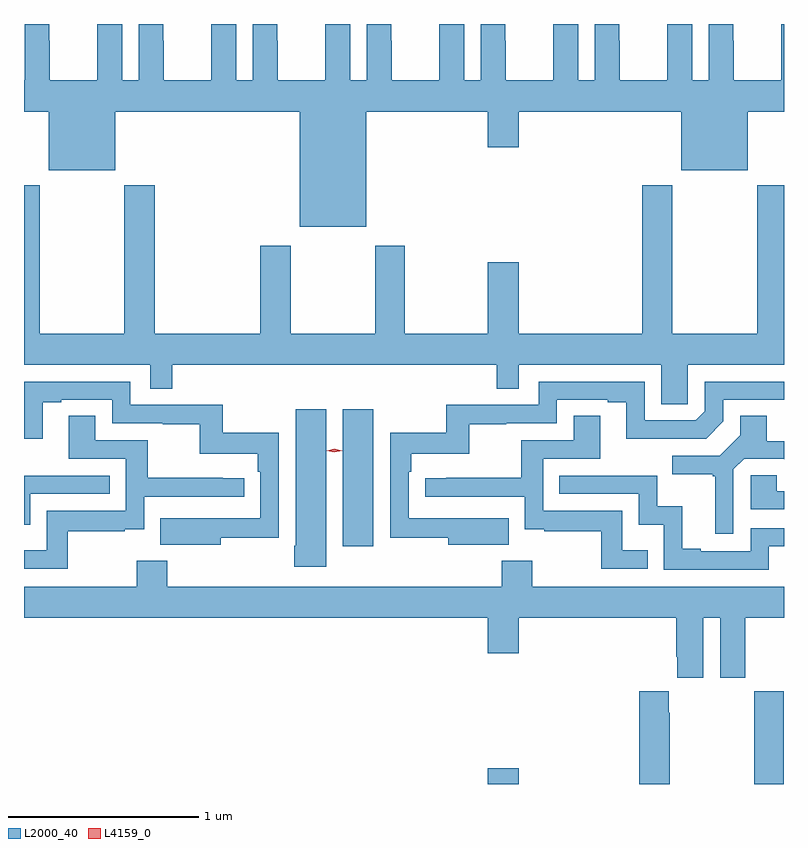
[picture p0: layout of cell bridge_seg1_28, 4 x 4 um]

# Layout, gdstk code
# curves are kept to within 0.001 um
import gdstk
lib = gdstk.Library(unit=1e-6, precision=1e-09)
def R(c, l, rs):  # rectangles x0, y0, x1, y1
    for r in rs: c.add(gdstk.rectangle(r[:2], r[2:], *l))
def P(c, l, *ps):  # polygons
    for p in ps: c.add(gdstk.Polygon(p, *l))
L2000_40 = (2000, 40)
L4159_0 = (4159, 0)

bridge_seg1_28 = lib.new_cell('bridge_seg1_28')
R(bridge_seg1_28, L2000_40, [(1124.048,536.205,1124.212,536.287), (1125.451,536.205,1125.606,536.692), (1123.286,537.456,1123.447,538.177)])
P(bridge_seg1_28, L2000_40, [(1121.994,540.116),(1121.993,540.116),(1121.993,539.908),(1121.743,539.908),(1121.743,540.116),(1121.742,540.116),(1121.742,540.205),(1121.612,540.205),(1121.612,539.908),(1121.608,539.908),(1121.608,539.744),(1121.738,539.744),(1121.738,539.435),(1122.088,539.435),(1122.088,539.744),(1123.058,539.744),(1123.058,539.138),(1123.408,539.138),(1123.408,539.744),(1124.048,539.744),(1124.048,539.556),(1124.212,539.556),(1124.212,539.744),(1125.068,539.744),(1125.068,539.435),(1125.418,539.435),(1125.418,539.744),(1125.608,539.744),(1125.608,540.205),(1125.594,540.205),(1125.594,540.116),(1125.593,540.116),(1125.593,539.908),(1125.343,539.908),(1125.343,540.116),(1125.342,540.116),(1125.342,540.205),(1125.212,540.205),(1125.212,539.908),(1125.124,539.908),(1125.124,540.205),(1124.994,540.205),(1124.994,540.116),(1124.993,540.116),(1124.993,539.908),(1124.743,539.908),(1124.743,540.116),(1124.742,540.116),(1124.742,540.205),(1124.612,540.205),(1124.612,539.908),(1124.524,539.908),(1124.524,540.205),(1124.394,540.205),(1124.394,540.116),(1124.393,540.116),(1124.393,539.908),(1124.143,539.908),(1124.143,540.116),(1124.142,540.116),(1124.142,540.205),(1124.012,540.205),(1124.012,539.908),(1123.924,539.908),(1123.924,540.205),(1123.794,540.205),(1123.794,540.116),(1123.793,540.116),(1123.793,539.908),(1123.543,539.908),(1123.543,540.116),(1123.542,540.116),(1123.542,540.205),(1123.412,540.205),(1123.412,539.908),(1123.324,539.908),(1123.324,540.205),(1123.194,540.205),(1123.194,540.116),(1123.193,540.116),(1123.193,539.908),(1122.943,539.908),(1122.943,540.116),(1122.942,540.116),(1122.942,540.205),(1122.812,540.205),(1122.812,539.908),(1122.724,539.908),(1122.724,540.205),(1122.594,540.205),(1122.594,540.116),(1122.593,540.116),(1122.593,539.908),(1122.343,539.908),(1122.343,540.116),(1122.342,540.116),(1122.342,540.205),(1122.212,540.205),(1122.212,539.908),(1122.124,539.908),(1122.124,540.205),(1121.994,540.205)],
  [(1125.102,538.412),(1125.608,538.412),(1125.608,539.356),(1125.466,539.356),(1125.466,538.576),(1125.021,538.576),(1125.021,539.356),(1124.861,539.356),(1124.861,538.576),(1124.212,538.576),(1124.212,538.951),(1124.048,538.951),(1124.048,538.576),(1123.611,538.576),(1123.611,539.038),(1123.456,539.038),(1123.456,538.576),(1123.011,538.576),(1123.011,539.038),(1122.851,539.038),(1122.851,538.576),(1122.296,538.576),(1122.296,539.356),(1122.136,539.356),(1122.136,538.576),(1121.691,538.576),(1121.691,539.356),(1121.608,539.356),(1121.608,538.412),(1122.273,538.412),(1122.273,538.285),(1122.389,538.285),(1122.389,538.412),(1124.095,538.412),(1124.095,538.285),(1124.211,538.285),(1124.211,538.412),(1124.963,538.412),(1124.963,538.204),(1125.102,538.204)],
  [(1124.159,537.604),(1123.632,537.603),(1123.632,537.848),(1123.646,537.848),(1123.646,537.944),(1123.951,537.944),(1123.951,538.099),(1124.147,538.099),(1124.147,538.104),(1124.412,538.104),(1124.412,538.227),(1124.681,538.227),(1124.681,538.215),(1124.777,538.215),(1124.777,538.022),(1125.198,538.023),(1125.288,538.113),(1125.288,538.227),(1125.608,538.227),(1125.608,538.323),(1125.192,538.323),(1125.192,538.167),(1125.144,538.119),(1124.874,538.119),(1124.874,538.323),(1124.316,538.323),(1124.316,538.2),(1123.83,538.2),(1123.83,538.054),(1123.536,538.054),(1123.536,537.502),(1123.841,537.502),(1123.841,537.464),(1124.159,537.464)],
  [(1122.643,537.502),(1122.948,537.502),(1122.948,538.054),(1122.655,538.054),(1122.655,538.2),(1122.168,538.2),(1122.168,538.323),(1121.61,538.323),(1121.61,538.119),(1121.608,538.119),(1121.608,538.022),(1121.707,538.022),(1121.707,538.215),(1121.803,538.215),(1121.803,538.227),(1122.072,538.227),(1122.072,538.104),(1122.337,538.104),(1122.337,538.099),(1122.534,538.099),(1122.534,537.944),(1122.839,537.944),(1122.839,537.848),(1122.852,537.848),(1122.852,537.603),(1122.539,537.603),(1122.539,537.604),(1122.325,537.604),(1122.325,537.464),(1122.643,537.464)],
  [(1123.198,538.177),(1123.037,538.177),(1123.037,537.46),(1123.03,537.46),(1123.03,537.348),(1123.198,537.348)],
  [(1125.342,537.861),(1125.399,537.918),(1125.605,537.918),(1125.608,537.915),(1125.608,538.01),(1125.517,538.01),(1125.517,538.142),(1125.377,538.142),(1125.377,538.04),(1125.27,537.933),(1125.021,537.933),(1125.021,537.836),(1125.234,537.836),(1125.234,537.825),(1125.245,537.825),(1125.245,537.522),(1125.342,537.522)],
  [(1121.839,537.534),(1122.137,537.534),(1122.137,537.545),(1122.24,537.545),(1122.24,537.717),(1122.766,537.717),(1122.766,537.813),(1122.653,537.813),(1122.653,537.818),(1122.26,537.818),(1122.26,538.014),(1121.983,538.014),(1121.983,538.142),(1121.843,538.142),(1121.843,537.918),(1122.144,537.918),(1122.144,537.642),(1121.728,537.642),(1121.728,537.436),(1121.608,537.436),(1121.608,537.339),(1121.839,537.339)],
  [(1124.891,537.436),(1124.757,537.436),(1124.757,537.642),(1124.34,537.642),(1124.34,537.918),(1124.641,537.918),(1124.641,538.142),(1124.501,538.142),(1124.501,538.014),(1124.224,538.014),(1124.224,537.818),(1123.831,537.818),(1123.831,537.813),(1123.719,537.813),(1123.719,537.717),(1124.244,537.717),(1124.244,537.545),(1124.347,537.545),(1124.347,537.534),(1124.646,537.534),(1124.646,537.339),(1124.891,537.339)],
  [(1125.608,537.747),(1125.569,537.747),(1125.569,537.831),(1125.432,537.831),(1125.432,537.651),(1125.608,537.651)],
  [(1125.528,537.456),(1125.608,537.456),(1125.608,537.552),(1125.432,537.552),(1125.432,537.429),(1125.169,537.429),(1125.169,537.442),(1125.073,537.442),(1125.073,537.667),(1124.94,537.667),(1124.94,537.828),(1124.425,537.828),(1124.425,537.732),(1124.844,537.732),(1124.844,537.569),(1124.976,537.569),(1124.976,537.333),(1125.528,537.333)],
  [(1121.64,537.732),(1122.059,537.732),(1122.059,537.828),(1121.608,537.828),(1121.608,537.569),(1121.64,537.569)],
  [(1124.048,536.892),(1124.212,536.892),(1124.212,537.08),(1125.041,537.08),(1125.041,536.875),(1125.047,536.875),(1125.047,536.763),(1125.184,536.763),(1125.184,537.08),(1125.272,537.08),(1125.272,536.763),(1125.403,536.763),(1125.403,537.08),(1125.608,537.08),(1125.608,537.244),(1124.283,537.244),(1124.283,537.379),(1124.123,537.379),(1124.123,537.244),(1122.362,537.244),(1122.362,537.379),(1122.202,537.379),(1122.202,537.244),(1121.608,537.244),(1121.608,537.08),(1124.048,537.08)],
  [(1125.006,536.579),(1125.001,536.579),(1125.001,536.692),(1124.846,536.692),(1124.846,536.205),(1125.006,536.205)])
P(bridge_seg1_28, L4159_0, [(1123.242,537.95),(1123.202,537.96),(1123.202,537.96),(1123.202,537.96),(1123.242,537.97),(1123.282,537.96),(1123.282,537.96),(1123.282,537.959)])

lib.write_gds('bridge_seg1_28.gds')
